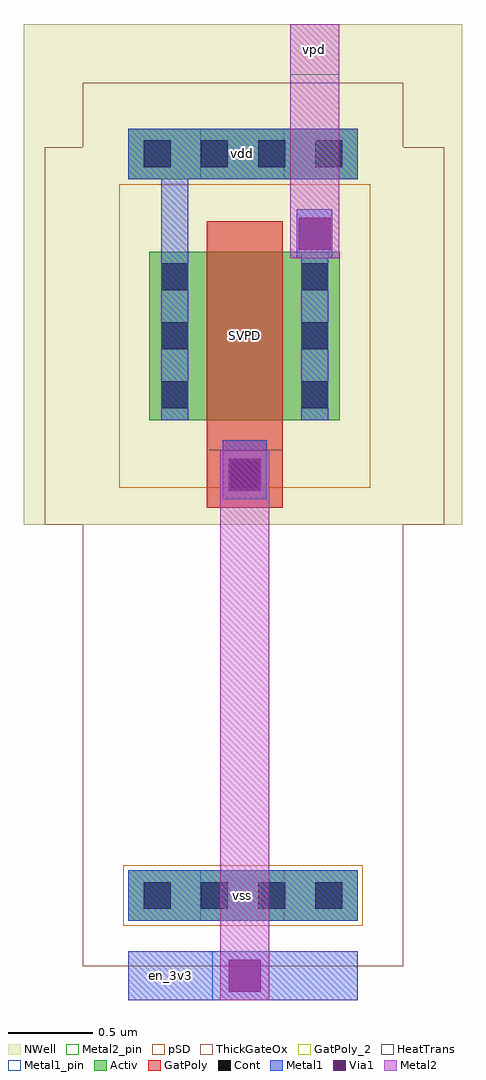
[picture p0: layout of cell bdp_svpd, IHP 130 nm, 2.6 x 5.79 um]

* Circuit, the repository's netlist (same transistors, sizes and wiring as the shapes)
* SPDX-FileCopyrightText: 2026 Christoph Maier
* SPDX-License-Identifier: Apache-2.0
* bdp_svpd (Claude, agent D, C4 2026-11-07). hv devices 1u/0.45u; every device as drawn.

.SUBCKT bdp_svpd en_3v3 vdd vpd vss
MSVPD vpd en_3v3 vdd vdd sg13_hv_pmos w=1u l=0.45u ng=1 m=1
.ENDS bdp_svpd

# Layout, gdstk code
import gdstk
lib = gdstk.Library(unit=1e-6, precision=1e-09)
def R(c, l, rs):  # rectangles x0, y0, x1, y1
    for r in rs: c.add(gdstk.rectangle(r[:2], r[2:], *l))
def A(c, l, x, y, w, h, nx, ny, dx, dy):  # array of equal rectangles
    R(c, l, [(x+i*dx, y+j*dy, x+i*dx+w, y+j*dy+h) for i in range(nx) for j in range(ny)])
Activ = (1, 0)
GatPoly = (5, 0)
GatPoly_2 = (5, 2)
Cont = (6, 0)
Metal1 = (8, 0)
Metal1_pin = (8, 2)
Metal2 = (10, 0)
Metal2_pin = (10, 2)
pSD = (14, 0)
Via1 = (19, 0)
NWell = (31, 0)
ThickGateOx = (44, 0)
HeatTrans = (51, 0)

pmoshv_w1_l0p45 = lib.new_cell('pmosHV_w1_l0p45')
R(pmoshv_w1_l0p45, Activ, [(0,0,0.3,0.3), (0,0,1.13,1), (0.83,0,1.13,0.3)])
R(pmoshv_w1_l0p45, GatPoly, [(0.34,-0.18,0.79,1.18)])
R(pmoshv_w1_l0p45, GatPoly_2, [(0.34,-0.18,0.79,1.18)])
A(pmoshv_w1_l0p45, Cont, 0.07, 0.07, 0.16, 0.16, 1, 3, 0, 0.35)
A(pmoshv_w1_l0p45, Cont, 0.9, 0.07, 0.16, 0.16, 1, 3, 0, 0.35)
R(pmoshv_w1_l0p45, Metal1, [(0.07,0,0.23,1), (0.9,0,1.06,1)])
R(pmoshv_w1_l0p45, Metal1_pin, [(0.07,0,0.23,1), (0.9,0,1.06,1)])
R(pmoshv_w1_l0p45, pSD, [(-0.18,-0.4,1.31,1.4)])
R(pmoshv_w1_l0p45, NWell, [(-0.62,-0.62,1.75,1.62)])
R(pmoshv_w1_l0p45, ThickGateOx, [(-0.62,-0.62,1.75,1.62)])
R(pmoshv_w1_l0p45, HeatTrans, [(0.34,-0.18,0.79,1.18)])
pmoshv_w1_l0p45.add(gdstk.Label('pmosHV', (0.565,0.5), layer=63, texttype=0))
pmoshv_w1_l0p45.add(gdstk.Label('pmos', (0.565,0.5), layer=51, texttype=0))

bdp_svpd = lib.new_cell('bdp_svpd')
R(bdp_svpd, Activ, [(-0.125,0,1.235,0.3), (-0.125,4.4,1.235,4.7)])
R(bdp_svpd, GatPoly, [(0.34,2.45,0.79,2.79)])
A(bdp_svpd, Cont, -0.035, 0.07, 0.16, 0.16, 4, 2, 0.34, 4.4)
R(bdp_svpd, Cont, [(0.485,2.57,0.645,2.73)])
R(bdp_svpd, Metal1, [(-0.125,-0.47,1.235,-0.18), (-0.125,0,1.235,0.3), (0.435,2.5,0.695,2.85), (0.875,3.93,1.085,4.22), (0.07,3.97,0.23,4.4), (-0.125,4.4,1.235,4.7)])
R(bdp_svpd, Metal1_pin, [(-0.125,-0.47,0.375,-0.18), (0.3,0,0.8,0.3), (0.3,4.4,0.8,4.7)])
R(bdp_svpd, Metal2, [(0.42,-0.47,0.71,2.79), (0.835,3.93,1.125,5.32)])
R(bdp_svpd, Metal2_pin, [(0.835,5.02,1.125,5.32)])
R(bdp_svpd, pSD, [(-0.155,-0.03,1.265,0.33)])
R(bdp_svpd, Via1, [(0.47,-0.42,0.66,-0.23), (0.47,2.55,0.66,2.74), (0.885,3.98,1.075,4.17)])
R(bdp_svpd, NWell, [(-0.745,2.35,1.855,5.32)])
R(bdp_svpd, ThickGateOx, [(-0.395,-0.27,1.505,4.97)])
bdp_svpd.add(gdstk.Reference(pmoshv_w1_l0p45, (0,2.97)))
bdp_svpd.add(gdstk.Label('en_3v3', (0.125,-0.325), layer=8, texttype=25))
bdp_svpd.add(gdstk.Label('vdd', (0.55,4.55), layer=8, texttype=25))
bdp_svpd.add(gdstk.Label('vss', (0.55,0.15), layer=8, texttype=25))
bdp_svpd.add(gdstk.Label('vpd', (0.98,5.17), layer=10, texttype=25))
bdp_svpd.add(gdstk.Label('SVPD', (0.565,3.47), layer=63, texttype=0))

lib.write_gds('bdp_svpd.gds')
